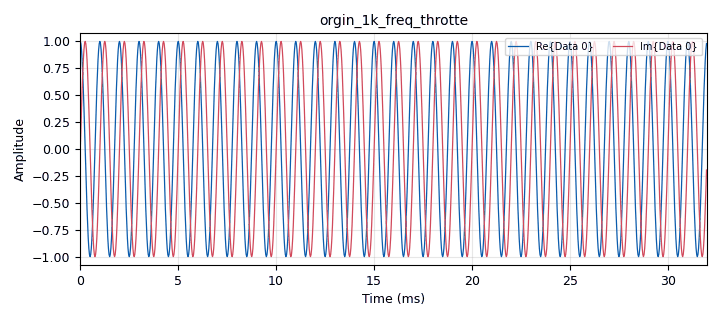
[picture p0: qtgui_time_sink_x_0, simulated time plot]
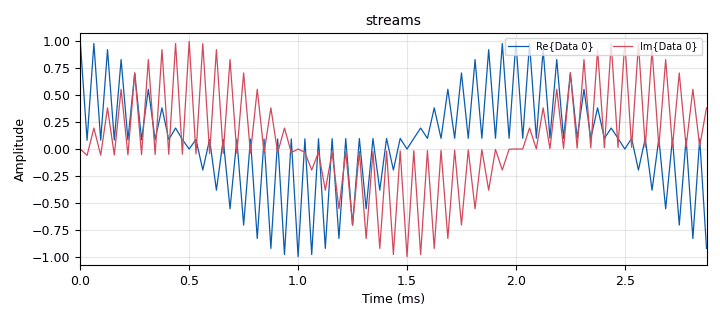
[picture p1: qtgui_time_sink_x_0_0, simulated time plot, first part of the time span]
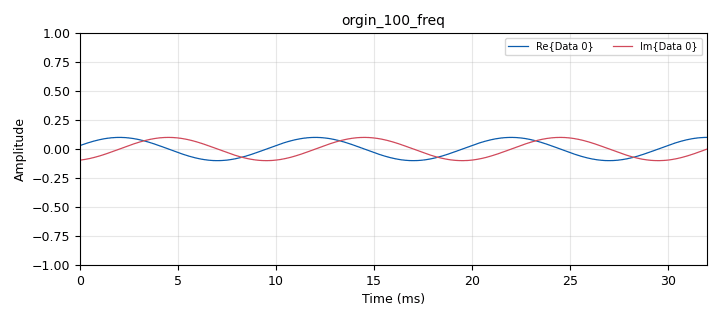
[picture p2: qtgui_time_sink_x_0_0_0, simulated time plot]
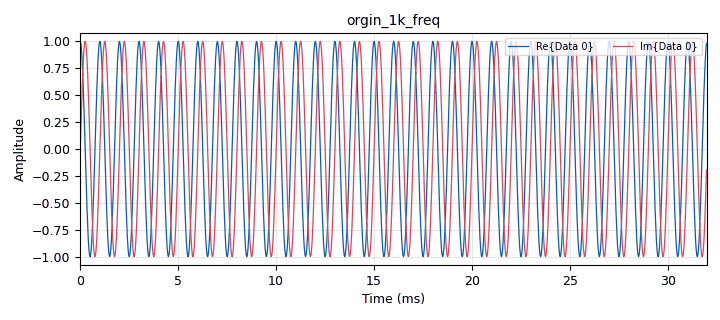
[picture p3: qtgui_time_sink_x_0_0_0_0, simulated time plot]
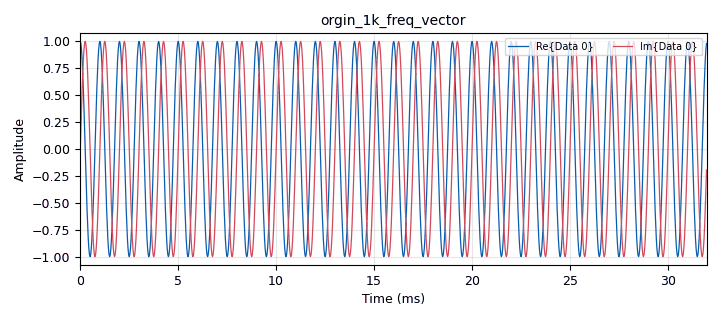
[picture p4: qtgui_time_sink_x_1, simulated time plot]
options:
  parameters:
    author: opensourcesdr
    generate_options: qt_gui
    id: stream_vectors
    output_language: python
    title: stream_vectors
  states: {}

blocks:
- name: samp_rate
  id: variable
  parameters:
    value: '32000'
  states: {}
- name: analog_sig_source_x_0
  id: analog_sig_source_x
  parameters:
    amp: '1'
    freq: '1000'
    offset: '0'
    phase: '0'
    samp_rate: samp_rate
    type: complex
    waveform: analog.GR_COS_WAVE
  states: {}
- name: analog_sig_source_x_0_0
  id: analog_sig_source_x
  parameters:
    amp: '0.1'
    freq: '100'
    offset: '0'
    phase: '0'
    samp_rate: samp_rate
    type: complex
    waveform: analog.GR_COS_WAVE
  states: {}
- name: blocks_stream_to_vector_0
  id: blocks_stream_to_vector
  parameters:
    num_items: '1'
    type: complex
  states: {}
- name: blocks_streams_to_vector_0
  id: blocks_streams_to_vector
  parameters:
    type: complex
  states: {}
- name: blocks_throttle_0
  id: blocks_throttle
  parameters:
    samples_per_second: samp_rate
    type: complex
  states: {}
- name: blocks_vector_to_stream_0
  id: blocks_vector_to_stream
  parameters:
    type: complex
  states: {}
- name: qtgui_time_sink_x_0
  id: qtgui_time_sink_x
  parameters:
    grid: 'True'
    name: '"orgin_1k_freq_throtte"'
    size: '1024'
    srate: samp_rate
    type: complex
  states: {}
- name: qtgui_time_sink_x_0_0
  id: qtgui_time_sink_x
  parameters:
    grid: 'True'
    name: '"streams"'
    size: '1024'
    srate: samp_rate
    type: complex
  states: {}
- name: qtgui_time_sink_x_0_0_0
  id: qtgui_time_sink_x
  parameters:
    grid: 'True'
    name: '"orgin_100_freq"'
    size: '1024'
    srate: samp_rate
    type: complex
  states: {}
- name: qtgui_time_sink_x_0_0_0_0
  id: qtgui_time_sink_x
  parameters:
    grid: 'True'
    name: '"orgin_1k_freq"'
    size: '1024'
    srate: samp_rate
    type: complex
  states: {}
- name: qtgui_time_sink_x_1
  id: qtgui_time_sink_x
  parameters:
    name: '"orgin_1k_freq_vector"'
    size: '1024'
    srate: samp_rate
    type: complex
  states: {}

connections:
- [analog_sig_source_x_0, '0', blocks_stream_to_vector_0, '0']
- [analog_sig_source_x_0, '0', blocks_streams_to_vector_0, '0']
- [analog_sig_source_x_0, '0', blocks_throttle_0, '0']
- [analog_sig_source_x_0, '0', qtgui_time_sink_x_0_0_0_0, '0']
- [analog_sig_source_x_0_0, '0', blocks_streams_to_vector_0, '1']
- [analog_sig_source_x_0_0, '0', qtgui_time_sink_x_0_0_0, '0']
- [blocks_stream_to_vector_0, '0', qtgui_time_sink_x_1, '0']
- [blocks_streams_to_vector_0, '0', blocks_vector_to_stream_0, '0']
- [blocks_throttle_0, '0', qtgui_time_sink_x_0, '0']
- [blocks_vector_to_stream_0, '0', qtgui_time_sink_x_0_0, '0']

metadata:
  file_format: 1
